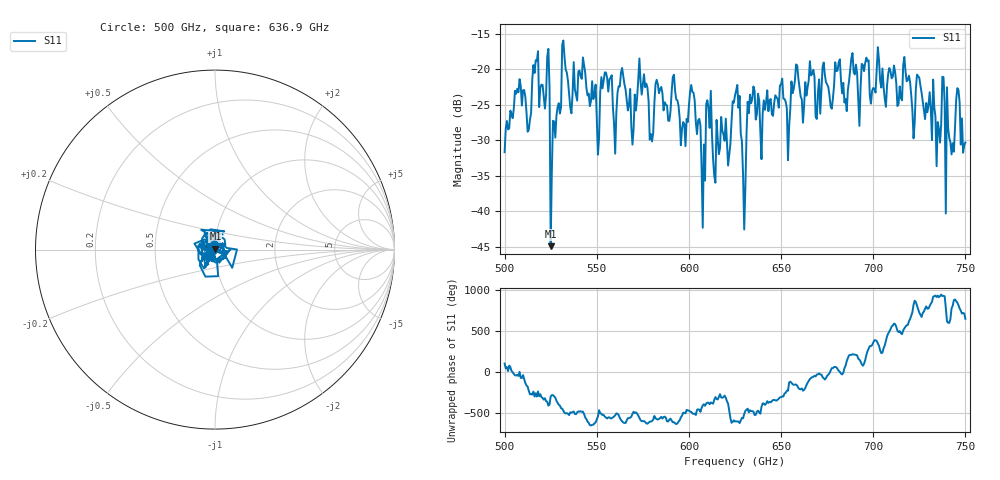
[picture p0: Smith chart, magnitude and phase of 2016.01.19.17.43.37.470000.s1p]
!Created with skrf (http://scikit-rf.org).
# GHz S RI R 50.0
!freq ReS11 ImS11
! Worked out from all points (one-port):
!   401 points, 500 GHz to 750 GHz, reference 50 ohm
!   lowest |S11| = -44.9 dB at 525 GHz (marker M1), VSWR 1.01, Z = 50.2 + j0.519 ohm
!   |S11| at or under -10 dB: start of sweep to end of sweep
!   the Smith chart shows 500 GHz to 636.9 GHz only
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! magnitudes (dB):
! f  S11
! 500 GHz  -31.7
! 507.5 GHz  -23.2
! 513.1 GHz  -28.5
! 516.9 GHz  -18.7
! 523.1 GHz  -18.2
! 525 GHz  -44.9
! 526.2 GHz  -27.2
! 531.2 GHz  -16.5
! 550 GHz  -26.8
! 562.5 GHz  -22.4
! 570 GHz  -28.4
! 576.2 GHz  -22.5
! 580 GHz  -30.2
! 583.1 GHz  -22.1
! 593.8 GHz  -24.4
! 596.9 GHz  -27.4
! 601.9 GHz  -23.2
! 607.5 GHz  -42.3
! 610.6 GHz  -25.5
! 614.4 GHz  -36.0
! 625 GHz  -23.7
! 630 GHz  -42.6
! 634.4 GHz  -24.2
! 656.2 GHz  -23.4
! 687.5 GHz  -20.0
! 718.8 GHz  -21.5
! 745.6 GHz  -22.6
! 750 GHz  -30.3
